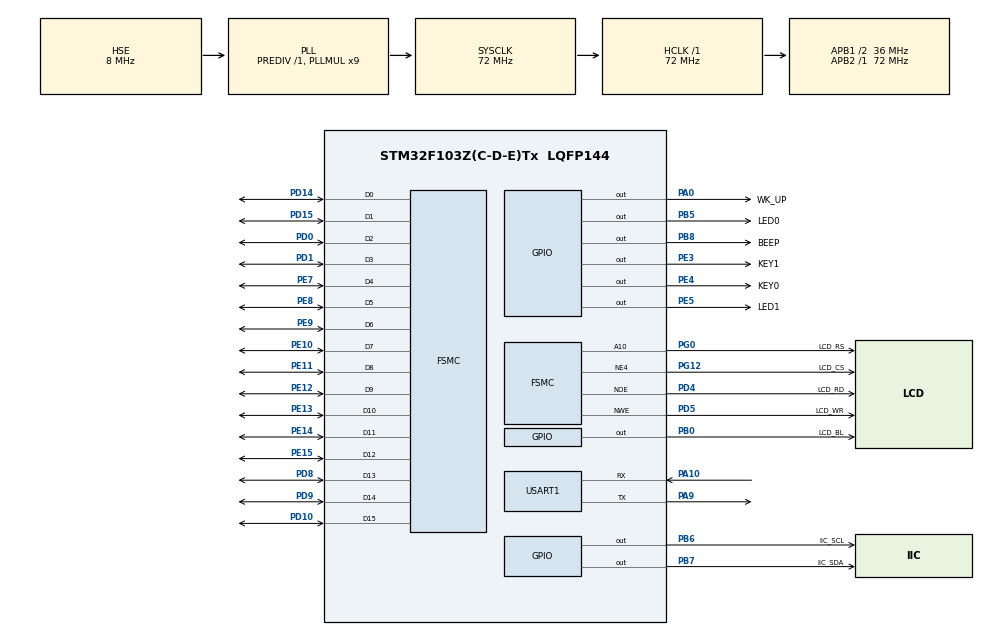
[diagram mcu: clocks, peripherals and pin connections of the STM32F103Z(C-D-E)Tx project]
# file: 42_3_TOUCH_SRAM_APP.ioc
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FSMC.AddressSetupTime1=0
FSMC.BusTurnAroundDuration1=15
FSMC.DataSetupTime1=15
FSMC.ExtendedAddressSetupTime1=0
FSMC.ExtendedDataSetupTime1=1
FSMC.ExtendedMode1=FSMC_EXTENDED_MODE_ENABLE
Mcu.Family=STM32F1
Mcu.Name=STM32F103Z(C-D-E)Tx
Mcu.Package=LQFP144
NVIC.PriorityGroup=NVIC_PRIORITYGROUP_2
NVIC.USART1_IRQn=true\:2\:2\:true\:false\:true\:true\:true\:true
OSC_IN.Mode=HSE-External-Oscillator
OSC_IN.Signal=RCC_OSC_IN
OSC_OUT.Mode=HSE-External-Oscillator
OSC_OUT.Signal=RCC_OSC_OUT
PA0-WKUP.GPIO_Label=WK_UP
PA0-WKUP.GPIO_PuPd=GPIO_PULLDOWN
PA0-WKUP.GPIO_Speed=GPIO_SPEED_FREQ_HIGH
PA0-WKUP.PinState=GPIO_PIN_RESET
PA0-WKUP.Signal=GPIO_Output
PA10.Mode=Asynchronous
PA10.Signal=USART1_RX
PA13.Mode=Serial_Wire
PA13.Signal=SYS_JTMS-SWDIO
PA14.Mode=Serial_Wire
PA14.Signal=SYS_JTCK-SWCLK
PA9.Mode=Asynchronous
PA9.Signal=USART1_TX
PB0.GPIO_Label=LCD_BL
PB0.GPIO_PuPd=GPIO_PULLUP
PB0.GPIO_Speed=GPIO_SPEED_FREQ_HIGH
PB0.PinState=GPIO_PIN_SET
PB0.Signal=GPIO_Output
PB5.GPIO_Label=LED0
PB5.GPIO_PuPd=GPIO_PULLUP
PB5.GPIO_Speed=GPIO_SPEED_FREQ_HIGH
PB5.PinState=GPIO_PIN_SET
PB5.Signal=GPIO_Output
PB6.GPIO_Label=IIC_SCL
PB6.GPIO_PuPd=GPIO_PULLUP
PB6.GPIO_Speed=GPIO_SPEED_FREQ_HIGH
PB6.PinState=GPIO_PIN_SET
PB6.Signal=GPIO_Output
PB7.GPIO_Label=IIC_SDA
PB7.GPIO_PuPd=GPIO_PULLUP
PB7.GPIO_Speed=GPIO_SPEED_FREQ_HIGH
PB7.PinState=GPIO_PIN_SET
PB7.Signal=GPIO_Output
PB8.GPIO_Label=BEEP
PB8.GPIO_ModeDefaultOutputPP=GPIO_MODE_OUTPUT_PP
PB8.GPIO_PuPd=GPIO_PULLDOWN
PB8.GPIO_Speed=GPIO_SPEED_FREQ_HIGH
PB8.PinState=GPIO_PIN_RESET
PB8.Signal=GPIO_Output
PC14-OSC32_IN.Mode=LSE-External-Oscillator
PC14-OSC32_IN.Signal=RCC_OSC32_IN
PC15-OSC32_OUT.Mode=LSE-External-Oscillator
PC15-OSC32_OUT.Signal=RCC_OSC32_OUT
PD0.Signal=FSMC_D2_DA2
PD1.Signal=FSMC_D3_DA3
PD10.Signal=FSMC_D15_DA15
PD14.Signal=FSMC_D0_DA0
PD15.Signal=FSMC_D1_DA1
PD4.GPIO_Label=LCD_RD
PD4.Signal=FSMC_NOE
PD5.GPIO_Label=LCD_WR
PD5.Signal=FSMC_NWE
PD8.Signal=FSMC_D13_DA13
PD9.Signal=FSMC_D14_DA14
PE10.Signal=FSMC_D7_DA7
PE11.Signal=FSMC_D8_DA8
PE12.Signal=FSMC_D9_DA9
PE13.Signal=FSMC_D10_DA10
PE14.Signal=FSMC_D11_DA11
PE15.Signal=FSMC_D12_DA12
PE3.GPIO_Label=KEY1
PE3.GPIO_PuPd=GPIO_PULLUP
PE3.GPIO_Speed=GPIO_SPEED_FREQ_HIGH
PE3.PinState=GPIO_PIN_SET
PE3.Signal=GPIO_Output
PE4.GPIO_Label=KEY0
PE4.GPIO_PuPd=GPIO_PULLUP
PE4.GPIO_Speed=GPIO_SPEED_FREQ_HIGH
PE4.PinState=GPIO_PIN_SET
PE4.Signal=GPIO_Output
PE5.GPIO_Label=LED1
PE5.GPIO_PuPd=GPIO_PULLUP
PE5.GPIO_Speed=GPIO_SPEED_FREQ_HIGH
PE5.PinState=GPIO_PIN_SET
PE5.Signal=GPIO_Output
PE7.Signal=FSMC_D4_DA4
PE8.Signal=FSMC_D5_DA5
PE9.Signal=FSMC_D6_DA6
PG0.GPIO_Label=LCD_RS
PG0.Signal=FSMC_A10
PG12.GPIO_Label=LCD_CS
PG12.Mode=NorPsramChipSelect4_1
PG12.Signal=FSMC_NE4
ProjectManager.HeapSize=0x200
ProjectManager.StackSize=0x400
ProjectManager.TargetToolchain=STM32CubeIDE
RCC.AHBFreq_Value=72000000
RCC.APB1CLKDivider=RCC_HCLK_DIV2
RCC.APB1Freq_Value=36000000
RCC.APB1TimFreq_Value=72000000
RCC.APB2Freq_Value=72000000
RCC.APB2TimFreq_Value=72000000
RCC.HCLKFreq_Value=72000000
RCC.PLLMUL=RCC_PLL_MUL9
RCC.PLLSourceVirtual=RCC_PLLSOURCE_HSE
RCC.SYSCLKFreq_VALUE=72000000
RCC.SYSCLKSource=RCC_SYSCLKSOURCE_PLLCLK
RCC.USBFreq_Value=72000000
SH.FSMC_A10.0=FSMC_A10,A10_1
SH.FSMC_D0_DA0.0=FSMC_D0,16b-d1
SH.FSMC_D10_DA10.0=FSMC_D10,16b-d1
SH.FSMC_D11_DA11.0=FSMC_D11,16b-d1
SH.FSMC_D12_DA12.0=FSMC_D12,16b-d1
SH.FSMC_D13_DA13.0=FSMC_D13,16b-d1
SH.FSMC_D14_DA14.0=FSMC_D14,16b-d1
SH.FSMC_D15_DA15.0=FSMC_D15,16b-d1
SH.FSMC_D1_DA1.0=FSMC_D1,16b-d1
SH.FSMC_D2_DA2.0=FSMC_D2,16b-d1
SH.FSMC_D3_DA3.0=FSMC_D3,16b-d1
SH.FSMC_D4_DA4.0=FSMC_D4,16b-d1
SH.FSMC_D5_DA5.0=FSMC_D5,16b-d1
SH.FSMC_D6_DA6.0=FSMC_D6,16b-d1
SH.FSMC_D7_DA7.0=FSMC_D7,16b-d1
SH.FSMC_D8_DA8.0=FSMC_D8,16b-d1
SH.FSMC_D9_DA9.0=FSMC_D9,16b-d1
SH.FSMC_NOE.0=FSMC_NOE,Lcd1
SH.FSMC_NWE.0=FSMC_NWE,Lcd1
USART1.VirtualMode=VM_ASYNC
board=custom

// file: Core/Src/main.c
/* USER CODE BEGIN Header */
/**
 ****************************************************************************************************
 * @file        main.c
 * @author      正点原子团队(ALIENTEK)
 * @version     V1.0
 * @date        2024-01-01
 * @brief       触摸屏 实验
 * @license     Copyright (c) 2020-2032, 广州市星翼电子科技有限公司
 ****************************************************************************************************
 * @attention
 *
 * 实验平台:正点原子 STM32F103开发板
 * 在线视频:www.yuanzige.com
 * 技术论坛:www.openedv.com
 * 公司网址:www.alientek.com
 * 购买地址:openedv.taobao.com
 *
 ****************************************************************************************************
 */
/* USER CODE END Header */
#include "main.h"
#include "usart.h"
#include "gpio.h"
#include "fsmc.h"

/* USER CODE BEGIN Includes */
#include "../../BSP/LED/led.h"
#include "../../BSP/KEY/key.h"
#include "../../BSP/LCD/lcd.h"
#include "../../BSP/24CXX/24cxx.h"
#include "../../BSP/TOUCH/touch.h"
#include "../../SYSTEM/delay/delay.h"
/* USER CODE END Includes */

/* USER CODE BEGIN PTD */
/**
 * @brief       清空屏幕并在右上角显示"RST"
 * @param       无
 * @retval      无
 */
void load_draw_dialog(void)
{
    lcd_clear(WHITE);                                                /* 清屏 */
    lcd_show_string(lcddev.width - 24, 0, 200, 16, 16, "RST", BLUE); /* 显示清屏区域 */
}

/**
 * @brief       画粗线
 * @param       x1,y1: 起点坐标
 * @param       x2,y2: 终点坐标
 * @param       size : 线条粗细程度
 * @param       color: 线的颜色
 * @retval      无
 */
void lcd_draw_bline(uint16_t x1, uint16_t y1, uint16_t x2, uint16_t y2, uint8_t size, uint16_t color)
{
    uint16_t t;
    int xerr = 0, yerr = 0, delta_x, delta_y, distance;
    int incx, incy, row, col;

    if (x1 < size || x2 < size || y1 < size || y2 < size)
        return;

    delta_x = x2 - x1; /* 计算坐标增量 */
    delta_y = y2 - y1;
    row = x1;
    col = y1;

    if (delta_x > 0)
    {
        incx = 1; /* 设置单步方向 */
    }
    else if (delta_x == 0)
    {
        incx = 0; /* 垂直线 */
    }
    else
    {
        incx = -1;
        delta_x = -delta_x;
    }

    if (delta_y > 0)
    {
        incy = 1;
    }
    else if (delta_y == 0)
    {
        incy = 0; /* 水平线 */
    }
    else
    {
        incy = -1;
        delta_y = -delta_y;
    }

    if (delta_x > delta_y)
        distance = delta_x; /* 选取基本增量坐标轴 */
    else
        distance = delta_y;

    for (t = 0; t <= distance + 1; t++) /* 画线输出 */
    {
        lcd_fill_circle(row, col, size, color); /* 画点 */
        xerr += delta_x;
        yerr += delta_y;

        if (xerr > distance)
        {
            xerr -= distance;
            row += incx;
        }

        if (yerr > distance)
        {
            yerr -= distance;
            col += incy;
        }
    }
}

/**
 * @brief       电阻触摸屏测试函数
 * @param       无
 * @retval      无
 */
void rtp_test(void)
{
    uint8_t key;
    uint8_t i = 0;

    while (1)
    {
        key = key_scan(0);
        tp_dev.scan(0);

        if (tp_dev.sta & TP_PRES_DOWN)  /* 触摸屏被按下 */
        {
            if (tp_dev.x[0] < lcddev.width && tp_dev.y[0] < lcddev.height)
            {
                if (tp_dev.x[0] > (lcddev.width - 24) && tp_dev.y[0] < 16)
                {
                    load_draw_dialog(); /* 清除 */
                }
                else
                {
                    tp_draw_big_point(tp_dev.x[0], tp_dev.y[0], RED);   /* 画点 */
                }
            }
        }
        else
        {
            delay_ms(10);       /* 没有按键按下的时候 */
        }

        if (key == KEY0_PRES)   /* KEY0按下,则执行校准程序 */
        {
            lcd_clear(WHITE);   /* 清屏 */
            tp_adjust();        /* 屏幕校准 */
            tp_save_adjust_data();
            load_draw_dialog();
        }

        i++;

        if (i % 20 == 0)LED0_TOGGLE();
    }
}

/* 10个触控点的颜色(电容触摸屏用) */
const uint16_t POINT_COLOR_TBL[10] = {RED, GREEN, BLUE, BROWN, YELLOW, MAGENTA, CYAN, LIGHTBLUE, BRRED, GRAY};

/**
 * @brief       电容触摸屏测试函数
 * @param       无
 * @retval      无
 */
void ctp_test(void)
{
    uint8_t t = 0;
    uint8_t i = 0;
    uint16_t lastpos[10][2];        /* 最后一次的数据 */
    uint8_t maxp = 5;

    if (lcddev.id == 0X1018)maxp = 10;

    while (1)
    {
        tp_dev.scan(0);

        for (t = 0; t < maxp; t++)
        {
            if ((tp_dev.sta) & (1 << t))
            {
                if (tp_dev.x[t] < lcddev.width && tp_dev.y[t] < lcddev.height)  /* 坐标在屏幕范围内 */
                {
                    if (lastpos[t][0] == 0XFFFF)
                    {
                        lastpos[t][0] = tp_dev.x[t];
                        lastpos[t][1] = tp_dev.y[t];
                    }

                    lcd_draw_bline(lastpos[t][0], lastpos[t][1], tp_dev.x[t], tp_dev.y[t], 2, POINT_COLOR_TBL[t]); /* 画线 */
                    lastpos[t][0] = tp_dev.x[t];
                    lastpos[t][1] = tp_dev.y[t];

                    if (tp_dev.x[t] > (lcddev.width - 24) && tp_dev.y[t] < 20)
                    {
                        load_draw_dialog();/* 清除 */
                    }
                }
            }
            else
            {
                lastpos[t][0] = 0XFFFF;
            }
        }

        delay_ms(5);
        i++;

        if (i % 20 == 0)LED0_TOGGLE();
    }
}
/* USER CODE END PTD */

void SystemClock_Config(void);

int main(void)
{
  /* USER CODE BEGIN 1 */
    /* 设置中断向量表 在SRAM里面, 且偏移量为 0X2000 */
    sys_nvic_set_vector_table(SRAM_BASE, 0x2000);
  /* USER CODE END 1 */

  /* MCU Configuration--------------------------------------------------------*/

  /* Reset of all peripherals, Initializes the Flash interface and the Systick. */
  HAL_Init();

  /* Configure the system clock */
  SystemClock_Config();

  /* USER CODE BEGIN SysInit */
  delay_init(72);						   	/* 初始化延时函数 */
  /* USER CODE END SysInit */

  /* Initialize all configured peripherals */
  MX_GPIO_Init();
  MX_FSMC_Init();
  MX_USART1_UART_Init();
  /* USER CODE BEGIN 2 */
  lcd_init();                         		/* 初始化LCD */
  tp_dev.init();                      		/* 触摸屏初始化 */

  lcd_show_string(30, 50, 200, 16, 16, "STM32", RED);
  lcd_show_string(30, 70, 200, 16, 16, "TOUCH TEST", RED);
  lcd_show_string(30, 90, 200, 16, 16, "ATOM@ALIENTEK", RED);   /* 显示提示信息 */
  if (tp_dev.touchtype != 0XFF)
  {
	  lcd_show_string(30, 110, 200, 16, 16, "Press KEY0 to Adjust", RED); /* 电阻屏才显示 */
  }

  delay_ms(1500);
  load_draw_dialog();

  if (tp_dev.touchtype & 0X80)
  {
	  ctp_test(); /* 电容屏测试 */
  }
  else
  {
	  rtp_test(); /* 电阻屏测试 */
  }
  /* USER CODE END 2 */

  /* Infinite loop */
  /* USER CODE BEGIN WHILE */
  while (1)
  {
	  delay_ms(10);

    /* USER CODE END WHILE */

  }
}

void SystemClock_Config(void)
{
  RCC_OscInitTypeDef RCC_OscInitStruct = {0};
  RCC_ClkInitTypeDef RCC_ClkInitStruct = {0};

  /** Initializes the RCC Oscillators according to the specified parameters
  * in the RCC_OscInitTypeDef structure.
  */
  RCC_OscInitStruct.OscillatorType = RCC_OSCILLATORTYPE_HSE;
  RCC_OscInitStruct.HSEState = RCC_HSE_ON;
  RCC_OscInitStruct.HSEPredivValue = RCC_HSE_PREDIV_DIV1;
  RCC_OscInitStruct.HSIState = RCC_HSI_ON;
  RCC_OscInitStruct.PLL.PLLState = RCC_PLL_ON;
  RCC_OscInitStruct.PLL.PLLSource = RCC_PLLSOURCE_HSE;
  RCC_OscInitStruct.PLL.PLLMUL = RCC_PLL_MUL9;
  if (HAL_RCC_OscConfig(&RCC_OscInitStruct) != HAL_OK)
  {
    Error_Handler();
  }

  /** Initializes the CPU, AHB and APB buses clocks
  */
  RCC_ClkInitStruct.ClockType = RCC_CLOCKTYPE_HCLK|RCC_CLOCKTYPE_SYSCLK
                              |RCC_CLOCKTYPE_PCLK1|RCC_CLOCKTYPE_PCLK2;
  RCC_ClkInitStruct.SYSCLKSource = RCC_SYSCLKSOURCE_PLLCLK;
  RCC_ClkInitStruct.AHBCLKDivider = RCC_SYSCLK_DIV1;
  RCC_ClkInitStruct.APB1CLKDivider = RCC_HCLK_DIV2;
  RCC_ClkInitStruct.APB2CLKDivider = RCC_HCLK_DIV1;

  if (HAL_RCC_ClockConfig(&RCC_ClkInitStruct, FLASH_LATENCY_2) != HAL_OK)
  {
    Error_Handler();
  }
}

void Error_Handler(void)
{
  __disable_irq();
  while (1)
  {
  }
}
